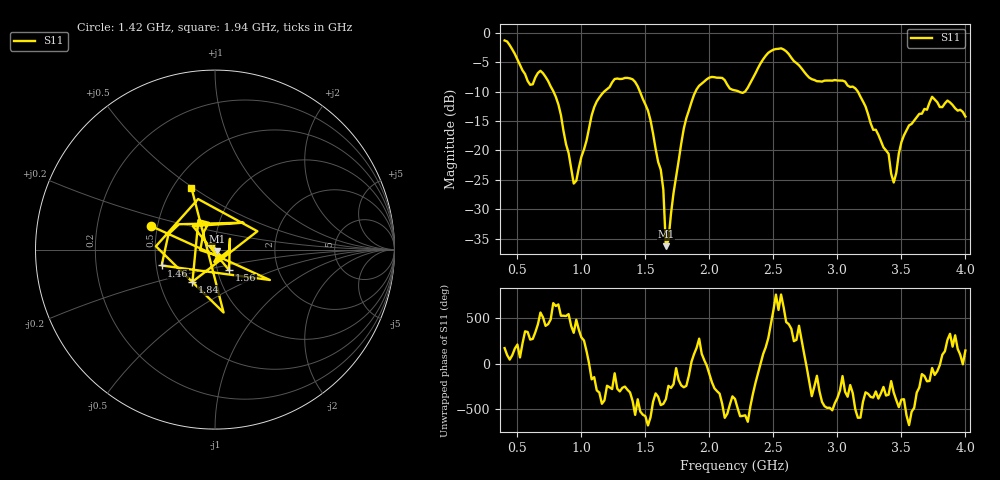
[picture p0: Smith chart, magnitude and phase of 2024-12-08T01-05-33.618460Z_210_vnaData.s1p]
!Created with skrf (http://scikit-rf.org).
# Hz S RI R 50.0
!freq ReS11 ImS11
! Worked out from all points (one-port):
!   181 points, 400 MHz to 4 GHz, reference 50 ohm
!   lowest |S11| = -36.2 dB at 1.66 GHz (marker M1), VSWR 1.03, Z = 51.4 - j0.734 ohm
!   |S11| at or under -10 dB: 781.4 MHz to 1.179 GHz (397.1 MHz wide, 40.5 % of centre); 1.457 GHz to 1.892 GHz (435.2 MHz wide, 26 % of centre); 3.16 GHz to end of sweep (the widest 3 of 4)
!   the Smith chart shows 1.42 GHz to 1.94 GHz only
!   S11 on the Smith chart (normalised r, x): 1.42 GHz: 0.46, +0.14; 1.46 GHz: 0.53, -0.10; 1.56 GHz: 1.14, -0.27; 1.84 GHz: 0.73, -0.28; 1.94 GHz: 0.62, +0.49
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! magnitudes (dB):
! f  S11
! 400 MHz  -1.3
! 600 MHz  -8.9
! 720 MHz  -7.5
! 820 MHz  -12.2
! 860 MHz  -16.7
! 940 MHz  -25.6
! 1.1 GHz  -12.7
! 1.3 GHz  -7.9
! 1.42 GHz  -8.4
! 1.46 GHz  -10.2
! 1.56 GHz  -17.2
! 1.64 GHz  -26.6
! 1.66 GHz  -36.2
! 1.68 GHz  -35.2
! 1.76 GHz  -21.7
! 1.84 GHz  -13.2
! 1.94 GHz  -8.7
! 2.2 GHz  -9.8
! 2.28 GHz  -10.0
! 2.5 GHz  -2.9
! 2.66 GHz  -4.8
! 3.1 GHz  -9.2
! 3.4 GHz  -20.6
! 3.44 GHz  -25.4
! 3.5 GHz  -18.6
! 3.56 GHz  -15.7
! 3.74 GHz  -10.9
! 4 GHz  -14.2
